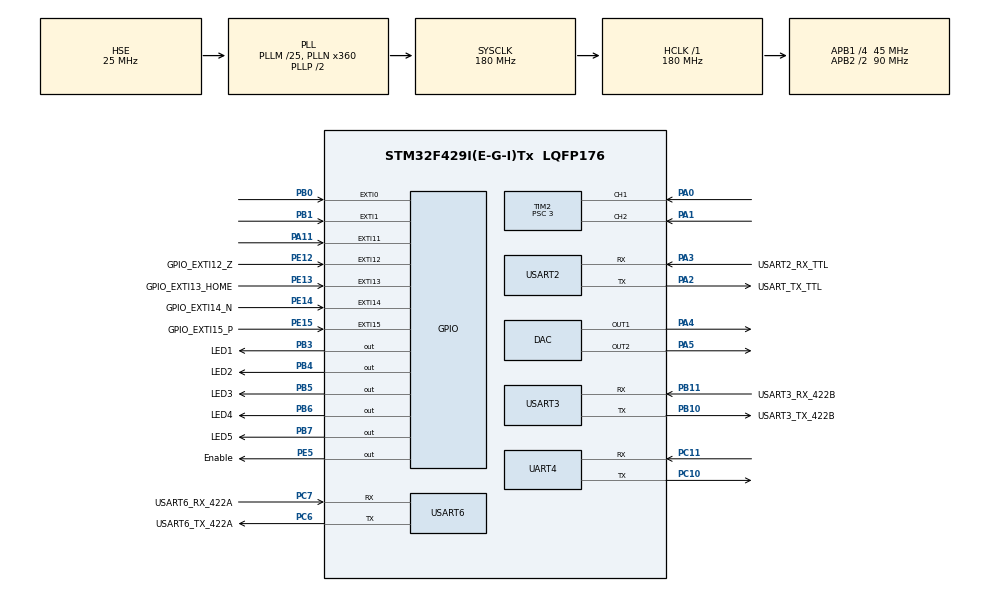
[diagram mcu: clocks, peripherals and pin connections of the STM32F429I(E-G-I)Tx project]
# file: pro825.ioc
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DAC.DAC_OutputBuffer=DAC_OUTPUTBUFFER_DISABLE
DAC.DAC_OutputBuffer2=DAC_OUTPUTBUFFER_ENABLE
Mcu.Family=STM32F4
Mcu.Name=STM32F429I(E-G-I)Tx
Mcu.Package=LQFP176
NVIC.EXTI0_IRQn=true\:2\:1\:true\:false\:true
NVIC.EXTI15_10_IRQn=true\:2\:1\:true\:false\:true
NVIC.EXTI1_IRQn=true\:2\:1\:true\:false\:true
NVIC.PriorityGroup=NVIC_PRIORITYGROUP_2
NVIC.TIM3_IRQn=true\:3\:3\:true\:false\:true
NVIC.TIM7_IRQn=true\:3\:3\:true\:false\:true
NVIC.UART4_IRQn=true\:0\:0\:false\:false\:true
NVIC.USART3_IRQn=true\:3\:2\:true\:false\:true
NVIC.USART6_IRQn=true\:2\:2\:true\:false\:true
PA0/WKUP.GPIO_ModeDefaultPP=GPIO_MODE_AF_OD
PA0/WKUP.GPIO_PuPd=GPIO_PULLDOWN
PA0/WKUP.GPIO_Speed=GPIO_SPEED_FREQ_VERY_HIGH
PA0/WKUP.Signal=S_TIM2_CH1_ETR
PA1.GPIO_ModeDefaultPP=GPIO_MODE_AF_OD
PA1.GPIO_PuPd=GPIO_PULLDOWN
PA1.GPIO_Speed=GPIO_SPEED_FREQ_VERY_HIGH
PA1.Signal=S_TIM2_CH2
PA11.GPIO_PuPd=GPIO_PULLUP
PA11.Signal=GPXTI11
PA2.GPIO_Label=USART_TX_TTL
PA2.Mode=Asynchronous
PA2.Signal=USART2_TX
PA3.GPIO_Label=USART2_RX_TTL
PA3.Mode=Asynchronous
PA3.Signal=USART2_RX
PA4.GPIO_PuPd=GPIO_NOPULL
PA4.Signal=COMP_DAC1_group
PA5.GPIO_Mode=GPIO_MODE_ANALOG
PA5.GPIO_PuPd=GPIO_NOPULL
PA5.Signal=COMP_DAC2_group
PB0.GPIO_ModeDefaultEXTI=GPIO_MODE_IT_FALLING
PB0.GPIO_PuPd=GPIO_PULLUP
PB0.Signal=GPXTI0
PB1.GPIO_ModeDefaultEXTI=GPIO_MODE_IT_FALLING
PB1.GPIO_PuPd=GPIO_PULLUP
PB1.Signal=GPXTI1
PB10.GPIO_Label=USART3_TX_422B
PB10.Mode=Asynchronous
PB10.Signal=USART3_TX
PB11.GPIO_Label=USART3_RX_422B
PB11.Mode=Asynchronous
PB11.Signal=USART3_RX
PB3.GPIO_Label=LED1
PB3.GPIO_PuPd=GPIO_PULLUP
PB3.GPIO_Speed=GPIO_SPEED_FREQ_VERY_HIGH
PB3.PinState=GPIO_PIN_SET
PB3.Signal=GPIO_Output
PB4.GPIO_Label=LED2
PB4.GPIO_ModeDefaultOutputPP=GPIO_MODE_OUTPUT_PP
PB4.GPIO_PuPd=GPIO_PULLUP
PB4.GPIO_Speed=GPIO_SPEED_FREQ_VERY_HIGH
PB4.PinState=GPIO_PIN_SET
PB4.Signal=GPIO_Output
PB5.GPIO_Label=LED3
PB5.GPIO_ModeDefaultOutputPP=GPIO_MODE_OUTPUT_PP
PB5.GPIO_PuPd=GPIO_PULLUP
PB5.GPIO_Speed=GPIO_SPEED_FREQ_VERY_HIGH
PB5.PinState=GPIO_PIN_SET
PB5.Signal=GPIO_Output
PB6.GPIO_Label=LED4
PB6.GPIO_ModeDefaultOutputPP=GPIO_MODE_OUTPUT_PP
PB6.GPIO_PuPd=GPIO_PULLUP
PB6.GPIO_Speed=GPIO_SPEED_FREQ_VERY_HIGH
PB6.PinState=GPIO_PIN_SET
PB6.Signal=GPIO_Output
PB7.GPIO_Label=LED5
PB7.GPIO_ModeDefaultOutputPP=GPIO_MODE_OUTPUT_PP
PB7.GPIO_PuPd=GPIO_PULLUP
PB7.GPIO_Speed=GPIO_SPEED_FREQ_VERY_HIGH
PB7.PinState=GPIO_PIN_SET
PB7.Signal=GPIO_Output
PC10.Mode=Asynchronous
PC10.Signal=UART4_TX
PC11.Mode=Asynchronous
PC11.Signal=UART4_RX
PC6.GPIO_Label=USART6_TX_422A
PC6.Mode=Asynchronous
PC6.Signal=USART6_TX
PC7.GPIO_Label=USART6_RX_422A
PC7.Mode=Asynchronous
PC7.Signal=USART6_RX
PE12.GPIO_Label=GPIO_EXTI12_Z
PE12.GPIO_PuPd=GPIO_PULLDOWN
PE12.Signal=GPXTI12
PE13.GPIO_Label=GPIO_EXTI13_HOME
PE13.GPIO_PuPd=GPIO_PULLUP
PE13.Signal=GPXTI13
PE14.GPIO_Label=GPIO_EXTI14_N
PE14.GPIO_PuPd=GPIO_PULLUP
PE14.Signal=GPXTI14
PE15.GPIO_Label=GPIO_EXTI15_P
PE15.GPIO_PuPd=GPIO_PULLUP
PE15.Signal=GPXTI15
PE5.GPIO_Label=Enable
PE5.GPIO_ModeDefaultOutputPP=GPIO_MODE_OUTPUT_PP
PE5.GPIO_PuPd=GPIO_PULLUP
PE5.GPIO_Speed=GPIO_SPEED_FREQ_VERY_HIGH
PE5.PinState=GPIO_PIN_SET
PE5.Signal=GPIO_Output
PH0/OSC_IN.Mode=HSE-External-Oscillator
PH0/OSC_IN.Signal=RCC_OSC_IN
PH1/OSC_OUT.Mode=HSE-External-Oscillator
PH1/OSC_OUT.Signal=RCC_OSC_OUT
ProjectManager.HeapSize=0x200
ProjectManager.StackSize=0x400
ProjectManager.TargetToolchain=MDK-ARM V5
RCC.48MHZClocksFreq_Value=90000000
RCC.AHBFreq_Value=180000000
RCC.APB1CLKDivider=RCC_HCLK_DIV4
RCC.APB1Freq_Value=45000000
RCC.APB1TimFreq_Value=90000000
RCC.APB2CLKDivider=RCC_HCLK_DIV2
RCC.APB2Freq_Value=90000000
RCC.APB2TimFreq_Value=180000000
RCC.CortexFreq_Value=180000000
RCC.HCLKFreq_Value=180000000
RCC.HSE_VALUE=25000000
RCC.HSI_VALUE=16000000
RCC.LSE_VALUE=32768
RCC.PLLM=25
RCC.PLLN=360
RCC.PLLSourceVirtual=RCC_PLLSOURCE_HSE
RCC.SYSCLKFreq_VALUE=180000000
RCC.SYSCLKSource=RCC_SYSCLKSOURCE_PLLCLK
RCC.VCOOutputFreq_Value=360000000
SH.COMP_DAC1_group.0=DAC_OUT1,DAC_OUT1
SH.COMP_DAC2_group.0=DAC_OUT2,DAC_OUT2
SH.S_TIM2_CH1_ETR.0=TIM2_CH1,Encoder_Interface
SH.S_TIM2_CH2.0=TIM2_CH2,Encoder_Interface
TIM2.EncoderMode=TIM_ENCODERMODE_TI12
TIM2.IC1Filter=15
TIM2.IC2Filter=15
TIM2.Period=100000
TIM2.Prescaler=3
TIM3.Period=9999
TIM3.Prescaler=8999
TIM7.Period=27
TIM7.Prescaler=99
VP_TIM3_VS_ClockSourceINT.Mode=Internal
VP_TIM7_VS_ClockSourceINT.Mode=Enable_Timer
board=pro825

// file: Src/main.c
/**
  ******************************************************************************
  * File Name          : main.c
  * Description        : Main program body
  ******************************************************************************
  *
  * COPYRIGHT(c) 2021 STMicroelectronics
  *
  * Redistribution and use in source and binary forms, with or without modification,
  * are permitted provided that the following conditions are met:
  *   1. Redistributions of source code must retain the above copyright notice,
  *      this list of conditions and the following disclaimer.
  *   2. Redistributions in binary form must reproduce the above copyright notice,
  *      this list of conditions and the following disclaimer in the documentation
  *      and/or other materials provided with the distribution.
  *   3. Neither the name of STMicroelectronics nor the names of its contributors
  *      may be used to endorse or promote products derived from this software
  *      without specific prior written permission.
  *
  * THIS SOFTWARE IS PROVIDED BY THE COPYRIGHT HOLDERS AND CONTRIBUTORS "AS IS"
  * AND ANY EXPRESS OR IMPLIED WARRANTIES, INCLUDING, BUT NOT LIMITED TO, THE
  * IMPLIED WARRANTIES OF MERCHANTABILITY AND FITNESS FOR A PARTICULAR PURPOSE ARE
  * DISCLAIMED. IN NO EVENT SHALL THE COPYRIGHT HOLDER OR CONTRIBUTORS BE LIABLE
  * FOR ANY DIRECT, INDIRECT, INCIDENTAL, SPECIAL, EXEMPLARY, OR CONSEQUENTIAL
  * DAMAGES (INCLUDING, BUT NOT LIMITED TO, PROCUREMENT OF SUBSTITUTE GOODS OR
  * SERVICES; LOSS OF USE, DATA, OR PROFITS; OR BUSINESS INTERRUPTION) HOWEVER
  * CAUSED AND ON ANY THEORY OF LIABILITY, WHETHER IN CONTRACT, STRICT LIABILITY,
  * OR TORT (INCLUDING NEGLIGENCE OR OTHERWISE) ARISING IN ANY WAY OUT OF THE USE
  * OF THIS SOFTWARE, EVEN IF ADVISED OF THE POSSIBILITY OF SUCH DAMAGE.
  *
  ******************************************************************************
  */
#include "stm32f4xx_hal.h"

/* USER CODE BEGIN Includes */
#include "mb.h"
#include "led.h"
#include "pid_control.h"
#include "uart.h"
#include "math.h"
/* USER CODE END Includes */

DAC_HandleTypeDef hdac;

TIM_HandleTypeDef htim2;
TIM_HandleTypeDef htim3;
TIM_HandleTypeDef htim7;

UART_HandleTypeDef huart4;   //普通串口
UART_HandleTypeDef huart2;   //print,调试串口
UART_HandleTypeDef huart3;	//RS422B
UART_HandleTypeDef huart6;   //RS422A

/* USER CODE BEGIN PV */
/* Private variables ---------------------------------------------------------*/

/* USER CODE END PV */

void SystemClock_Config(void);
static void MX_GPIO_Init(void);
static void MX_DAC_Init(void);
static void MX_USART3_UART_Init(void);
static void MX_TIM2_Init(void);
static void MX_USART2_UART_Init(void);
static void MX_USART6_UART_Init(void);
static void MX_TIM7_Init(void);
static void MX_UART4_Init(void);
static void MX_TIM3_Init(void);

/* USER CODE BEGIN PFP */
/* Private function prototypes -----------------------------------------------*/

struct SAngle
{
	short Angle[3];
	short T;
};

struct SAngle stcAngle;

unsigned char aRxBuffer1[1];
unsigned char aRxBuffer2[1];
unsigned char aRxBuffer3[1];

unsigned char Ini_Flag=0;

unsigned char Home_Flag=0;
unsigned char plate_state=0x08;

uint8_t open_control=0;

double SetHeading=0;
//设置航向，单位为度，0为东向，逆时针为正
unsigned char sensordata[8];

double DoubleHomeHeading=0;
short FloatHomeHeading=0;
//设置航向，单位为度，0为东向，逆时针为正

int32_t PID_K1=0,PID_K2=0,PID_DK=0;
uint32_t pos_home=39000;

double diffheading=0;

/* USER CODE END PFP */

/* USER CODE BEGIN 0 */

void HAL_TIM_PeriodElapsedCallback(TIM_HandleTypeDef *htim)
{
	if(htim->Instance == htim3.Instance) {
		unxx_led_timer_callback();
	//	uart_enc();
		//printf("\r\n unxx_led_timer_callback(); \r\n");
	}
		//printf("\r\n HAL_TIM_PeriodElapsedCallback \r\n");
	if(htim->Instance == htim7.Instance) {
		pxMBPortCBTimerExpired();
	}
}

void HAL_UART_TxCpltCallback(UART_HandleTypeDef *huart)
{

	if(huart->Instance == huart6.Instance) {
		pxMBFrameCBTransmitterEmpty();
	}
}

void HAL_UART_RxCpltCallback(UART_HandleTypeDef *huart)
{
	//printf("\r\n H1 \r\n");
	if(huart->Instance == huart6.Instance) {
		//printf("\r\n HAL_UART_RxCpltCallback2 \r\n");
		pxMBFrameCBByteReceived();
		//printf("\r\n HAL_UART_RxCpltCallback3 \r\n");

	}
}

/* USER CODE END 0 */

int main(void)
{

  /* MCU Configuration----------------------------------------------------------*/

  /* Reset of all peripherals, Initializes the Flash interface and the Systick. */
  HAL_Init();

  /* Configure the system clock */
  SystemClock_Config();

  /* Initialize all configured peripherals */
  MX_GPIO_Init();
  MX_DAC_Init();
  MX_USART3_UART_Init();
  MX_TIM2_Init();
  MX_USART2_UART_Init();
  MX_USART6_UART_Init();
  MX_TIM7_Init();
  MX_UART4_Init();
  MX_TIM3_Init();

  /* USER CODE BEGIN 2 */
  HAL_TIM_Base_Start_IT(&htim3);

  HAL_UART_Receive_IT(&huart4, (unsigned char *)aRxBuffer2, 1);

 //   eMBInit(MB_RTU, 0x04, 0x06, 115200, MB_PAR_NONE);
	// 从机地址为04，使用串口06，设置波特率为115200，没有奇偶校验
	//单条指令格式为：  地址	功能代码	数据地址	数据	LRC高字节	LRC低字节
	//04 03 00 00 00 01 84 5F
	//04 03 00 01 00 01 D5 9F
	//04 03 00 02 00 01 25 5F
	//04 03 00 03 00 01 74 5F
	//04 03 00 04 00 01 C5 9E
	//04 03 00 05 00 01 94 5E
	//04 03 00 06 00 01 64 5E
	//04 03 00 07 00 01 35 9E

	//测试写对地址0x0000的读写
	//04 03 00 00 00 01 84 5F
	//04 06 00 00 FF EE 48 23
	//04 03 00 00 00 01 84 5F

//	eMBEnable();

 //LEDIO测试

	uint8_t K1_RxBuffer6[20]="K1_RxBuffer6-T \r\n";
	uint8_t K1_RxBuffer3[20]="K1_RxBuffer3-T \r\n";
	uint8_t K1_RxBuffer2[20]="K1_RxBuffer2-T \r\n";
	uint8_t K1_RxBuffer4[20]="K1_RxBuffer4-T \r\n";
	HAL_UART_Transmit(&huart6, K1_RxBuffer6,20,1000);
	HAL_UART_Transmit(&huart3, K1_RxBuffer3,20,1000);
	HAL_UART_Transmit(&huart2, K1_RxBuffer2,20,1000);
	HAL_UART_Transmit(&huart4, K1_RxBuffer4,20,1000);

//	uint8_t K2_RxBuffer1[20]="422B发送正常 \r\n";
//	HAL_UART_Transmit(&huart4, K2_RxBuffer1,20,1000);
//	uint8_t K3_RxBuffer1[20]="422A发送正常 \r\n";
//	HAL_UART_Transmit(&huart4, K3_RxBuffer1,20,1000);

  	Ini_LED();

	HAL_DAC_Start(&hdac,DAC_CHANNEL_1); //开启DAC通道1
	HAL_DAC_Start(&hdac,DAC_CHANNEL_2); //开启DAC通道1

//	AA 44 13
//	58 FC 01 7C 08 18 CD 09 11 7C 08 00 00 00 00 00 00 7C 72 11 41
//	EE 18 AA 05 78 05 37 40
//	9F 35 09 F5 D9 4E 5C 40
//	00 00 E0 AB 5B 7B 42 40
//	8A C1 BC 4F 6F E3 8C BF
//	6D 17 10 AD 6A D2 A5 3F
//	30 28 45 51 2C CD BA 3F
//	FC 77 D8 53 C9 91 DC BF
//	C7 ED C3 2C CA 70 DB BF
//	00 00 00 00 00 00 00 80
//	0A 00 00 00
//	35 25 91 F8

	double apps;
	char app1[8]={0xEE, 0x18 ,0xAA ,0x05 ,0x78, 0x05 ,0x37 ,0x40};
	memcpy(&apps,&app1,8);
	printf("\r\n apps: %0.12f \r\n",apps);

  /* 队列测试----------------------------------------------------------*/

//	uint16_t j=1;
//	uint16_t arr_num=0;
//	uint16_t buff_sizeA=5;
//	uint8_t latitude_arrA[5];
//	while(j<9){
//
//
//		if(arr_num<buff_sizeA){
//
//			latitude_arrA[arr_num]=j;
//			printf("\r\n latitude_arrA: %d %d %d %d %d  \r\n",latitude_arrA[0],latitude_arrA[1],
//			latitude_arrA[2],latitude_arrA[3],latitude_arrA[4]);
//			arr_num++;
//		}
//		else{
//			uint16_t i=0;
//			while(i!=buff_sizeA-1){
//				latitude_arrA[i]=latitude_arrA[i+1];
//				i++;
//			}
//		latitude_arrA[buff_sizeA-1]=j;
//
//		printf("\r\n latitude_arrA: %d %d %d %d %d  \r\n",latitude_arrA[0],latitude_arrA[1],
//			latitude_arrA[2],latitude_arrA[3],latitude_arrA[4]);

//		}
//		j++;
//
//}

  /* 队列测试----------------------------------------------------------*/

//	platform_ini();
//
//	GoHome();

//	memcpy(&FloatHomeHeading,&sensordata[4],2);
//
//	printf("\r\n 进入主函数初始化... \r\n");

	//关闭电机使能，控制信号置零
//	HAL_GPIO_WritePin(GPIOE,GPIO_PIN_5,GPIO_PIN_RESET); 		//关闭转台电机使能
//
//	HAL_GPIO_WritePin(GPIOE,GPIO_PIN_5,GPIO_PIN_SET); 		//关闭转台电机使能
//	HAL_DAC_SetValue(&hdac,DAC_CHANNEL_1,DAC_ALIGN_12B_R,3000);    //关闭控制信号
//	HAL_DAC_SetValue(&hdac,DAC_CHANNEL_2,DAC_ALIGN_12B_R,0);	//关闭控制信号
//
//	HAL_Delay(3000);

//	HAL_DAC_SetValue(&hdac,DAC_CHANNEL_1,DAC_ALIGN_12B_R,0);    //关闭控制信号
//	HAL_DAC_SetValue(&hdac,DAC_CHANNEL_2,DAC_ALIGN_12B_R,3000);	//关闭控制信号
//
//	HAL_Delay(3000);
//	HAL_GPIO_WritePin(GPIOE,GPIO_PIN_5,GPIO_PIN_RESET); 		//关闭转台电机使能

  /* USER CODE END 2 */

  /* Infinite loop */
  while (1)
  {

  /* USER CODE BEGIN 3 */

	//	eMBPoll();

	//	printf("\r\n WHILE_print \r\n");
//		uint8_t K1_RxBuffer6[20]="K1_RxBuffer6-T \r\n";
//		uint8_t K1_RxBuffer3[20]="K1_RxBuffer3-T \r\n";
//		uint8_t K1_RxBuffer2[20]="K1_RxBuffer2-T \r\n";
//		uint8_t K1_RxBuffer4[20]="K1_RxBuffer4-T \r\n";
//		HAL_UART_Transmit(&huart6, K1_RxBuffer6,20,1000);
//		HAL_UART_Transmit(&huart3, K1_RxBuffer3,20,1000);
//		HAL_UART_Transmit(&huart2, K1_RxBuffer2,20,1000);
//		HAL_UART_Transmit(&huart4, K1_RxBuffer4,20,1000);

		HAL_Delay(3000);
		printf("\r\n diffheading：%f \r\n",diffheading);
//		short newheading1;
//		memcpy(&newheading1,&sensordata[4],2);
//		float diffheading=(float)(FloatHomeHeading-newheading1)/32768*180;
//
//
//		uint32_t control_z=(pos_home+diffheading*(pos_home-9000)/30);
//

//
//		pid_control(control_z,PID_K1, PID_K2, PID_DK);

	  if (open_control==1){

	 		uint32_t control_z=(pos_home+diffheading*(pos_home)/30);

			pid_control(control_z,PID_K1, PID_K2, PID_DK);
		  printf("\r\n diffheading：%f \r\n",diffheading);
		  printf("\r\n control_z：%d \r\n",control_z);

	  }

  }
  /* USER CODE END 3 */

}

/** System Clock Configuration
*/
void SystemClock_Config(void)
{

  RCC_OscInitTypeDef RCC_OscInitStruct;
  RCC_ClkInitTypeDef RCC_ClkInitStruct;

  __HAL_RCC_PWR_CLK_ENABLE();

  __HAL_PWR_VOLTAGESCALING_CONFIG(PWR_REGULATOR_VOLTAGE_SCALE1);

  RCC_OscInitStruct.OscillatorType = RCC_OSCILLATORTYPE_HSE;
  RCC_OscInitStruct.HSEState = RCC_HSE_ON;
  RCC_OscInitStruct.PLL.PLLState = RCC_PLL_ON;
  RCC_OscInitStruct.PLL.PLLSource = RCC_PLLSOURCE_HSE;
  RCC_OscInitStruct.PLL.PLLM = 25;
  RCC_OscInitStruct.PLL.PLLN = 360;
  RCC_OscInitStruct.PLL.PLLP = RCC_PLLP_DIV2;
  RCC_OscInitStruct.PLL.PLLQ = 4;
  HAL_RCC_OscConfig(&RCC_OscInitStruct);

  HAL_PWREx_EnableOverDrive();

  RCC_ClkInitStruct.ClockType = RCC_CLOCKTYPE_HCLK|RCC_CLOCKTYPE_SYSCLK
                              |RCC_CLOCKTYPE_PCLK1|RCC_CLOCKTYPE_PCLK2;
  RCC_ClkInitStruct.SYSCLKSource = RCC_SYSCLKSOURCE_PLLCLK;
  RCC_ClkInitStruct.AHBCLKDivider = RCC_SYSCLK_DIV1;
  RCC_ClkInitStruct.APB1CLKDivider = RCC_HCLK_DIV4;
  RCC_ClkInitStruct.APB2CLKDivider = RCC_HCLK_DIV2;
  HAL_RCC_ClockConfig(&RCC_ClkInitStruct, FLASH_LATENCY_5);

  HAL_SYSTICK_Config(HAL_RCC_GetHCLKFreq()/1000);

  HAL_SYSTICK_CLKSourceConfig(SYSTICK_CLKSOURCE_HCLK);

  /* SysTick_IRQn interrupt configuration */
  HAL_NVIC_SetPriority(SysTick_IRQn, 0, 0);
}

/* DAC init function */
void MX_DAC_Init(void)
{

  DAC_ChannelConfTypeDef sConfig;

    /**DAC Initialization
    */
  hdac.Instance = DAC;
  HAL_DAC_Init(&hdac);

    /**DAC channel OUT1 config
    */
  sConfig.DAC_Trigger = DAC_TRIGGER_NONE;
  sConfig.DAC_OutputBuffer = DAC_OUTPUTBUFFER_DISABLE;
  HAL_DAC_ConfigChannel(&hdac, &sConfig, DAC_CHANNEL_1);

    /**DAC channel OUT2 config
    */
  sConfig.DAC_OutputBuffer = DAC_OUTPUTBUFFER_ENABLE;
  HAL_DAC_ConfigChannel(&hdac, &sConfig, DAC_CHANNEL_2);

}

/* TIM2 init function */
void MX_TIM2_Init(void)
{

  TIM_Encoder_InitTypeDef sConfig;
  TIM_MasterConfigTypeDef sMasterConfig;

  htim2.Instance = TIM2;
  htim2.Init.Prescaler = 3;
  htim2.Init.CounterMode = TIM_COUNTERMODE_UP;
  htim2.Init.Period = 100000;
  htim2.Init.ClockDivision = TIM_CLOCKDIVISION_DIV1;
  sConfig.EncoderMode = TIM_ENCODERMODE_TI12;
  sConfig.IC1Polarity = TIM_ICPOLARITY_RISING;
  sConfig.IC1Selection = TIM_ICSELECTION_DIRECTTI;
  sConfig.IC1Prescaler = TIM_ICPSC_DIV1;
  sConfig.IC1Filter = 15;
  sConfig.IC2Polarity = TIM_ICPOLARITY_RISING;
  sConfig.IC2Selection = TIM_ICSELECTION_DIRECTTI;
  sConfig.IC2Prescaler = TIM_ICPSC_DIV1;
  sConfig.IC2Filter = 15;
  HAL_TIM_Encoder_Init(&htim2, &sConfig);

  sMasterConfig.MasterOutputTrigger = TIM_TRGO_RESET;
  sMasterConfig.MasterSlaveMode = TIM_MASTERSLAVEMODE_DISABLE;
  HAL_TIMEx_MasterConfigSynchronization(&htim2, &sMasterConfig);

}

/* TIM3 init function */
void MX_TIM3_Init(void)
{

  TIM_ClockConfigTypeDef sClockSourceConfig;
  TIM_MasterConfigTypeDef sMasterConfig;

  htim3.Instance = TIM3;
  htim3.Init.Prescaler = 8999;
  htim3.Init.CounterMode = TIM_COUNTERMODE_UP;
  htim3.Init.Period = 9999;
  htim3.Init.ClockDivision = TIM_CLOCKDIVISION_DIV1;
  HAL_TIM_Base_Init(&htim3);

  sClockSourceConfig.ClockSource = TIM_CLOCKSOURCE_INTERNAL;
  HAL_TIM_ConfigClockSource(&htim3, &sClockSourceConfig);

  sMasterConfig.MasterOutputTrigger = TIM_TRGO_RESET;
  sMasterConfig.MasterSlaveMode = TIM_MASTERSLAVEMODE_DISABLE;
  HAL_TIMEx_MasterConfigSynchronization(&htim3, &sMasterConfig);

}

/* TIM7 init function */
void MX_TIM7_Init(void)
{

  TIM_MasterConfigTypeDef sMasterConfig;

  htim7.Instance = TIM7;
  htim7.Init.Prescaler = 99;
  htim7.Init.CounterMode = TIM_COUNTERMODE_UP;
  htim7.Init.Period = 27;
  HAL_TIM_Base_Init(&htim7);

  sMasterConfig.MasterOutputTrigger = TIM_TRGO_RESET;
  sMasterConfig.MasterSlaveMode = TIM_MASTERSLAVEMODE_DISABLE;
  HAL_TIMEx_MasterConfigSynchronization(&htim7, &sMasterConfig);

}

/* UART4 init function */
void MX_UART4_Init(void)
{

  huart4.Instance = UART4;
  huart4.Init.BaudRate = 115200;
  huart4.Init.WordLength = UART_WORDLENGTH_8B;
  huart4.Init.StopBits = UART_STOPBITS_1;
  huart4.Init.Parity = UART_PARITY_NONE;
  huart4.Init.Mode = UART_MODE_TX_RX;
  huart4.Init.HwFlowCtl = UART_HWCONTROL_NONE;
  huart4.Init.OverSampling = UART_OVERSAMPLING_16;
  HAL_UART_Init(&huart4);

}

/* USART2 init function */
void MX_USART2_UART_Init(void)
{

  huart2.Instance = USART2;
  huart2.Init.BaudRate = 115200;
  huart2.Init.WordLength = UART_WORDLENGTH_8B;
  huart2.Init.StopBits = UART_STOPBITS_1;
  huart2.Init.Parity = UART_PARITY_NONE;
  huart2.Init.Mode = UART_MODE_TX_RX;
  huart2.Init.HwFlowCtl = UART_HWCONTROL_NONE;
  huart2.Init.OverSampling = UART_OVERSAMPLING_16;
  HAL_UART_Init(&huart2);

}

/* USART3 init function */
void MX_USART3_UART_Init(void)
{

  huart3.Instance = USART3;
  huart3.Init.BaudRate = 115200;
  huart3.Init.WordLength = UART_WORDLENGTH_8B;
  huart3.Init.StopBits = UART_STOPBITS_1;
  huart3.Init.Parity = UART_PARITY_NONE;
  huart3.Init.Mode = UART_MODE_TX_RX;
  huart3.Init.HwFlowCtl = UART_HWCONTROL_NONE;
  huart3.Init.OverSampling = UART_OVERSAMPLING_16;
  HAL_UART_Init(&huart3);

}

/* USART6 init function */
void MX_USART6_UART_Init(void)
{

  huart6.Instance = USART6;
  huart6.Init.BaudRate = 115200;
  huart6.Init.WordLength = UART_WORDLENGTH_8B;
  huart6.Init.StopBits = UART_STOPBITS_1;
  huart6.Init.Parity = UART_PARITY_NONE;
  huart6.Init.Mode = UART_MODE_TX_RX;
  huart6.Init.HwFlowCtl = UART_HWCONTROL_NONE;
  huart6.Init.OverSampling = UART_OVERSAMPLING_16;
  HAL_UART_Init(&huart6);

}

/** Configure pins as
        * Analog
        * Input
        * Output
        * EVENT_OUT
        * EXTI
*/
void MX_GPIO_Init(void)
{

  GPIO_InitTypeDef GPIO_InitStruct;

  /* GPIO Ports Clock Enable */
  __HAL_RCC_GPIOE_CLK_ENABLE();
  __HAL_RCC_GPIOH_CLK_ENABLE();
  __HAL_RCC_GPIOA_CLK_ENABLE();
  __HAL_RCC_GPIOB_CLK_ENABLE();
  __HAL_RCC_GPIOC_CLK_ENABLE();

  /*Configure GPIO pin Output Level */
  HAL_GPIO_WritePin(Enable_GPIO_Port, Enable_Pin, GPIO_PIN_SET);

  /*Configure GPIO pin Output Level */
  HAL_GPIO_WritePin(GPIOB, LED1_Pin|LED2_Pin|LED3_Pin|LED4_Pin
                          |LED5_Pin, GPIO_PIN_SET);

  /*Configure GPIO pin : Enable_Pin */
  GPIO_InitStruct.Pin = Enable_Pin;
  GPIO_InitStruct.Mode = GPIO_MODE_OUTPUT_PP;
  GPIO_InitStruct.Pull = GPIO_PULLUP;
  GPIO_InitStruct.Speed = GPIO_SPEED_FREQ_VERY_HIGH;
  HAL_GPIO_Init(Enable_GPIO_Port, &GPIO_InitStruct);

  /*Configure GPIO pins : PB0 PB1 */
  GPIO_InitStruct.Pin = GPIO_PIN_0|GPIO_PIN_1;
  GPIO_InitStruct.Mode = GPIO_MODE_IT_FALLING;
  GPIO_InitStruct.Pull = GPIO_PULLUP;
  HAL_GPIO_Init(GPIOB, &GPIO_InitStruct);

  /*Configure GPIO pin : GPIO_EXTI12_Z_Pin */
  GPIO_InitStruct.Pin = GPIO_EXTI12_Z_Pin;
  GPIO_InitStruct.Mode = GPIO_MODE_IT_RISING;
  GPIO_InitStruct.Pull = GPIO_PULLDOWN;
  HAL_GPIO_Init(GPIO_EXTI12_Z_GPIO_Port, &GPIO_InitStruct);

  /*Configure GPIO pins : GPIO_EXTI13_HOME_Pin GPIO_EXTI14_N_Pin GPIO_EXTI15_P_Pin */
  GPIO_InitStruct.Pin = GPIO_EXTI13_HOME_Pin|GPIO_EXTI14_N_Pin|GPIO_EXTI15_P_Pin;
  GPIO_InitStruct.Mode = GPIO_MODE_IT_RISING;
  GPIO_InitStruct.Pull = GPIO_PULLUP;
  HAL_GPIO_Init(GPIOE, &GPIO_InitStruct);

  /*Configure GPIO pin : PA11 */
  GPIO_InitStruct.Pin = GPIO_PIN_11;
  GPIO_InitStruct.Mode = GPIO_MODE_IT_RISING;
  GPIO_InitStruct.Pull = GPIO_PULLUP;
  HAL_GPIO_Init(GPIOA, &GPIO_InitStruct);

  /*Configure GPIO pins : LED1_Pin LED2_Pin LED3_Pin LED4_Pin
                           LED5_Pin */
  GPIO_InitStruct.Pin = LED1_Pin|LED2_Pin|LED3_Pin|LED4_Pin
                          |LED5_Pin;
  GPIO_InitStruct.Mode = GPIO_MODE_OUTPUT_PP;
  GPIO_InitStruct.Pull = GPIO_PULLUP;
  GPIO_InitStruct.Speed = GPIO_SPEED_FREQ_VERY_HIGH;
  HAL_GPIO_Init(GPIOB, &GPIO_InitStruct);

  /* EXTI interrupt init*/
  HAL_NVIC_SetPriority(EXTI0_IRQn, 2, 1);
  HAL_NVIC_EnableIRQ(EXTI0_IRQn);

  HAL_NVIC_SetPriority(EXTI1_IRQn, 2, 1);
  HAL_NVIC_EnableIRQ(EXTI1_IRQn);

  HAL_NVIC_SetPriority(EXTI15_10_IRQn, 2, 1);
  HAL_NVIC_EnableIRQ(EXTI15_10_IRQn);

}

/* USER CODE BEGIN 4 */
void HAL_GPIO_EXTI_Callback(uint16_t GPIO_Pin){

printf("HAL_GPIO_EXTI_Callback \r\n");
	switch(GPIO_Pin){

		case GPIO_PIN_11: //按键3
			printf("按键3_开启航向稳定 \r\n");
			HAL_Delay(100);
			open_control=!open_control;

		break;

		case GPIO_PIN_0: //按键2，顺时针转动

		HAL_GPIO_WritePin(GPIOE,GPIO_PIN_5,GPIO_PIN_SET); //  PE5变高电平，使能电机

		HAL_GPIO_WritePin(GPIOB,GPIO_PIN_7,GPIO_PIN_RESET); //LED4亮  顺时针向右转动，向右

		HAL_Delay(100);

			while(HAL_GPIO_ReadPin(GPIOB,GPIO_PIN_0)==0){

				HAL_DAC_SetValue(&hdac,DAC_CHANNEL_1,DAC_ALIGN_12B_R,4000);
				HAL_DAC_SetValue(&hdac,DAC_CHANNEL_2,DAC_ALIGN_12B_R,0);

			}

			HAL_GPIO_WritePin(GPIOE,GPIO_PIN_5,GPIO_PIN_SET); //LED0亮

			HAL_GPIO_WritePin(GPIOB,GPIO_PIN_7,GPIO_PIN_SET); //LED0亮
			HAL_DAC_SetValue(&hdac,DAC_CHANNEL_1,DAC_ALIGN_12B_R,0);
			HAL_DAC_SetValue(&hdac,DAC_CHANNEL_2,DAC_ALIGN_12B_R,0);

		break;

		case GPIO_PIN_1: //按键1，逆时针转动

			HAL_GPIO_WritePin(GPIOE,GPIO_PIN_5,GPIO_PIN_SET); // PE5变高电平，使能电机

			HAL_GPIO_WritePin(GPIOB,GPIO_PIN_6,GPIO_PIN_RESET); //LED5亮 从上往下看逆时针，向左转动

			HAL_Delay(100);

			while(HAL_GPIO_ReadPin(GPIOB,GPIO_PIN_1)==0){

				//逆时针旋转

				HAL_DAC_SetValue(&hdac,DAC_CHANNEL_1,DAC_ALIGN_12B_R,0);
				HAL_DAC_SetValue(&hdac,DAC_CHANNEL_2,DAC_ALIGN_12B_R,4000);

			}

			HAL_GPIO_WritePin(GPIOE,GPIO_PIN_5,GPIO_PIN_RESET); //LED0亮

			HAL_GPIO_WritePin(GPIOB,GPIO_PIN_6,GPIO_PIN_SET); //LED0亮
			HAL_DAC_SetValue(&hdac,DAC_CHANNEL_1,DAC_ALIGN_12B_R,0);
			HAL_DAC_SetValue(&hdac,DAC_CHANNEL_2,DAC_ALIGN_12B_R,0);

		break;

		case GPIO_PIN_12:

			//	printf("Z脉冲来了 \r\n");

				if(Ini_Flag==1){
					Ini_Flag=2;
					printf("找到右极限旁第一个Z脉冲 \r\n");
					// 此处装载位置计数器初值,Z脉冲初值
				}

				if(Ini_Flag==2){

//					HAL_GPIO_WritePin(GPIOE,GPIO_PIN_5,GPIO_PIN_RESET); //LED0亮
//				    HAL_DAC_SetValue(&hdac,DAC_CHANNEL_1,DAC_ALIGN_12B_R,0);
//		  	        HAL_DAC_SetValue(&hdac,DAC_CHANNEL_2,DAC_ALIGN_12B_R,0);
				    printf(" Ini_Flag==2 Z脉冲来了 \r\n");
					uart_enc();

					// 此处装载位置计数器初值，Z脉冲初值

				}

			break;

		case GPIO_PIN_13:

				HAL_Delay(100);
				printf("顺时针极限 \r\n");

				if(Ini_Flag==0){
					Ini_Flag=1;

					printf("初始化到到达右极限 \r\n");

				}
				if(Ini_Flag==2){

					printf("工作到到达右极限 \r\n");

				}

			break;

		case GPIO_PIN_14:

				HAL_Delay(100);
				printf("逆时针极限 \r\n");

			break;

		case GPIO_PIN_15:

				printf("Home中断 \r\n");

			break;
		default:
			break;

	}

}

/* USER CODE END 4 */

/************************ (C) COPYRIGHT STMicroelectronics *****END OF FILE****/
